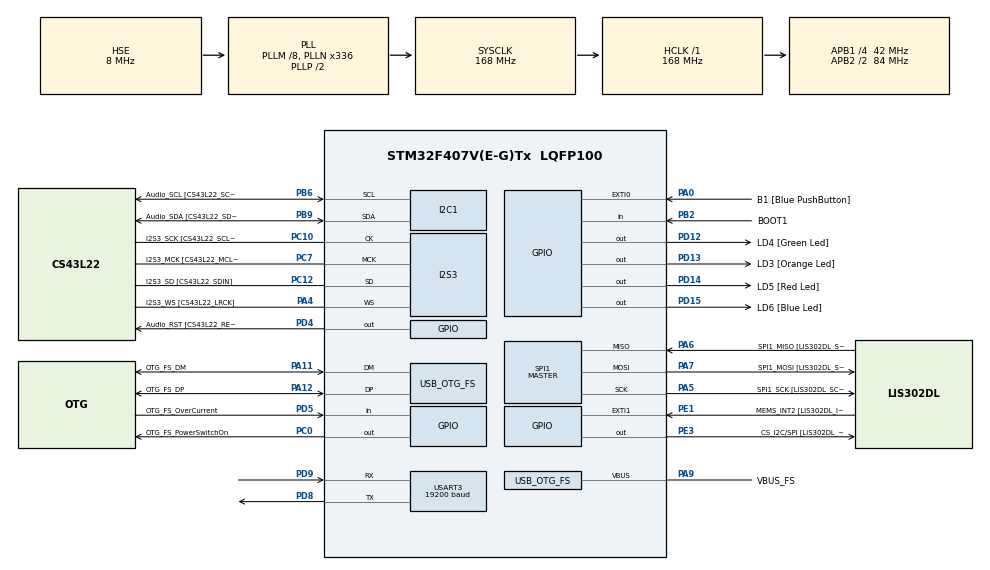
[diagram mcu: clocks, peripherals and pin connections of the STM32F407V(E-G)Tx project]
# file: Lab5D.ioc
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I2S3.AudioFreq-Half_Duplex_Master=I2S_AUDIOFREQ_96K
I2S3.ErrorAudioFreq=-2.34 %
I2S3.ErrorAudioFreq-Half_Duplex_Master=0.8 %
I2S3.FullDuplexMode=I2S_FULLDUPLEXMODE_DISABLE
I2S3.Instance=SPI$Index
I2S3.RealAudioFreq=93.75 KHz
I2S3.RealAudioFreq-Half_Duplex_Master=96.774 KHz
I2S3.VirtualMode=I2S_MODE_MASTER
Mcu.Family=STM32F4
Mcu.Name=STM32F407V(E-G)Tx
Mcu.Package=LQFP100
NVIC.OTG_FS_IRQn=true\:0\:0\:false\:false\:true\:true\:true\:true
NVIC.PriorityGroup=NVIC_PRIORITYGROUP_0
PA0-WKUP.GPIO_Label=B1 [Blue PushButton]
PA0-WKUP.GPIO_ModeDefaultEXTI=GPIO_MODE_EVT_RISING
PA0-WKUP.GPIO_PuPd=GPIO_NOPULL
PA0-WKUP.Signal=GPXTI0
PA10.GPIO_Label=OTG_FS_ID
PA10.GPIO_Mode=GPIO_MODE_AF_PP
PA10.GPIO_PuPd=GPIO_NOPULL
PA10.GPIO_Speed=GPIO_SPEED_FREQ_LOW
PA10.Signal=USB_OTG_FS_ID
PA11.GPIO_Label=OTG_FS_DM
PA11.GPIO_Mode=GPIO_MODE_AF_PP
PA11.GPIO_PuPd=GPIO_NOPULL
PA11.GPIO_Speed=GPIO_SPEED_FREQ_LOW
PA11.Mode=Host_Only
PA11.Signal=USB_OTG_FS_DM
PA12.GPIO_Label=OTG_FS_DP
PA12.GPIO_Mode=GPIO_MODE_AF_PP
PA12.GPIO_PuPd=GPIO_NOPULL
PA12.GPIO_Speed=GPIO_SPEED_FREQ_LOW
PA12.Mode=Host_Only
PA12.Signal=USB_OTG_FS_DP
PA13.GPIO_Label=SWDIO
PA13.Mode=Serial_Wire
PA13.Signal=SYS_JTMS-SWDIO
PA14.GPIO_Label=SWCLK
PA14.Mode=Serial_Wire
PA14.Signal=SYS_JTCK-SWCLK
PA4.GPIO_Label=I2S3_WS [CS43L22_LRCK]
PA4.GPIO_Mode=GPIO_MODE_AF_PP
PA4.GPIO_PuPd=GPIO_NOPULL
PA4.GPIO_Speed=GPIO_SPEED_FREQ_LOW
PA4.Mode=Half_Duplex_Master
PA4.Signal=I2S3_WS
PA5.GPIO_Label=SPI1_SCK [LIS302DL_SCL/SPC]
PA5.GPIO_Mode=GPIO_MODE_AF_PP
PA5.GPIO_PuPd=GPIO_NOPULL
PA5.GPIO_Speed=GPIO_SPEED_FREQ_LOW
PA5.Mode=Full_Duplex_Master
PA5.Signal=SPI1_SCK
PA6.GPIO_Label=SPI1_MISO [LIS302DL_SDO]
PA6.GPIO_Mode=GPIO_MODE_AF_PP
PA6.GPIO_PuPd=GPIO_NOPULL
PA6.GPIO_Speed=GPIO_SPEED_FREQ_LOW
PA6.Mode=Full_Duplex_Master
PA6.Signal=SPI1_MISO
PA7.GPIO_Label=SPI1_MOSI [LIS302DL_SDA/SDI/SDO]
PA7.GPIO_Mode=GPIO_MODE_AF_PP
PA7.GPIO_PuPd=GPIO_NOPULL
PA7.GPIO_Speed=GPIO_SPEED_FREQ_LOW
PA7.Mode=Full_Duplex_Master
PA7.Signal=SPI1_MOSI
PA9.GPIO_Label=VBUS_FS
PA9.GPIO_Mode=GPIO_MODE_INPUT
PA9.GPIO_PuPd=GPIO_NOPULL
PA9.Mode=Activate_VBUS
PA9.Signal=USB_OTG_FS_VBUS
PB10.GPIO_Label=CLK_IN [MP45DT02_CLK]
PB10.GPIO_Mode=GPIO_MODE_AF_PP
PB10.GPIO_PuPd=GPIO_NOPULL
PB10.GPIO_Speed=GPIO_SPEED_FREQ_LOW
PB10.Signal=I2S2_CK
PB2.GPIO_Label=BOOT1
PB2.GPIO_Mode=GPIO_MODE_INPUT
PB2.GPIO_PuPd=GPIO_NOPULL
PB2.Signal=GPIO_Input
PB3.GPIO_Label=SWO
PB3.Signal=SYS_JTDO-SWO
PB6.GPIO_Label=Audio_SCL [CS43L22_SCL]
PB6.GPIO_Mode=GPIO_MODE_AF_OD
PB6.GPIO_Pu=GPIO_PULLUP
PB6.GPIO_PuPd=GPIO_NOPULL
PB6.GPIO_Speed=GPIO_SPEED_FREQ_LOW
PB6.Mode=I2C
PB6.Signal=I2C1_SCL
PB9.GPIO_Label=Audio_SDA [CS43L22_SDA]
PB9.GPIO_Mode=GPIO_MODE_AF_OD
PB9.GPIO_Pu=GPIO_PULLUP
PB9.GPIO_PuPd=GPIO_NOPULL
PB9.GPIO_Speed=GPIO_SPEED_FREQ_LOW
PB9.Mode=I2C
PB9.Signal=I2C1_SDA
PC0.GPIO_Label=OTG_FS_PowerSwitchOn
PC0.GPIO_PuPd=GPIO_NOPULL
PC0.GPIO_Speed=GPIO_SPEED_FREQ_LOW
PC0.PinState=GPIO_PIN_SET
PC0.Signal=GPIO_Output
PC10.GPIO_Label=I2S3_SCK [CS43L22_SCLK]
PC10.GPIO_Mode=GPIO_MODE_AF_PP
PC10.GPIO_PuPd=GPIO_NOPULL
PC10.GPIO_Speed=GPIO_SPEED_FREQ_LOW
PC10.Mode=Half_Duplex_Master
PC10.Signal=I2S3_CK
PC12.GPIO_Label=I2S3_SD [CS43L22_SDIN]
PC12.GPIO_Mode=GPIO_MODE_AF_PP
PC12.GPIO_PuPd=GPIO_NOPULL
PC12.GPIO_Speed=GPIO_SPEED_FREQ_LOW
PC12.Mode=Half_Duplex_Master
PC12.Signal=I2S3_SD
PC14-OSC32_IN.GPIO_Label=PC14-OSC32_IN
PC14-OSC32_IN.Mode=LSE-External-Oscillator
PC14-OSC32_IN.Signal=RCC_OSC32_IN
PC15-OSC32_OUT.GPIO_Label=PC15-OSC32_OUT
PC15-OSC32_OUT.Mode=LSE-External-Oscillator
PC15-OSC32_OUT.Signal=RCC_OSC32_OUT
PC3.GPIO_Label=PDM_OUT [MP45DT02_DOUT]
PC3.GPIO_Mode=GPIO_MODE_AF_PP
PC3.GPIO_PuPd=GPIO_NOPULL
PC3.GPIO_Speed=GPIO_SPEED_FREQ_LOW
PC3.Signal=I2S2_SD
PC7.GPIO_Label=I2S3_MCK [CS43L22_MCLK]
PC7.GPIO_Mode=GPIO_MODE_AF_PP
PC7.GPIO_PuPd=GPIO_NOPULL
PC7.GPIO_Speed=GPIO_SPEED_FREQ_LOW
PC7.Mode=Master_Clock_Activated
PC7.Signal=I2S3_MCK
PD12.GPIO_Label=LD4 [Green Led]
PD12.GPIO_PuPd=GPIO_NOPULL
PD12.GPIO_Speed=GPIO_SPEED_FREQ_LOW
PD12.Signal=GPIO_Output
PD13.GPIO_Label=LD3 [Orange Led]
PD13.GPIO_PuPd=GPIO_NOPULL
PD13.GPIO_Speed=GPIO_SPEED_FREQ_LOW
PD13.Signal=GPIO_Output
PD14.GPIO_Label=LD5 [Red Led]
PD14.GPIO_PuPd=GPIO_NOPULL
PD14.GPIO_Speed=GPIO_SPEED_FREQ_LOW
PD14.Signal=GPIO_Output
PD15.GPIO_Label=LD6 [Blue Led]
PD15.GPIO_PuPd=GPIO_NOPULL
PD15.GPIO_Speed=GPIO_SPEED_FREQ_LOW
PD15.Signal=GPIO_Output
PD4.GPIO_Label=Audio_RST [CS43L22_RESET]
PD4.GPIO_PuPd=GPIO_NOPULL
PD4.GPIO_Speed=GPIO_SPEED_FREQ_LOW
PD4.Signal=GPIO_Output
PD5.GPIO_Label=OTG_FS_OverCurrent
PD5.GPIO_Mode=GPIO_MODE_INPUT
PD5.GPIO_PuPd=GPIO_NOPULL
PD5.Signal=GPIO_Input
PD8.Mode=Asynchronous
PD8.Signal=USART3_TX
PD9.Mode=Asynchronous
PD9.Signal=USART3_RX
PE1.GPIO_Label=MEMS_INT2 [LIS302DL_INT2]
PE1.GPIO_ModeDefaultEXTI=GPIO_MODE_EVT_RISING
PE1.GPIO_PuPd=GPIO_NOPULL
PE1.Signal=GPXTI1
PE3.GPIO_Label=CS_I2C/SPI [LIS302DL_CS_I2C/SPI]
PE3.GPIO_PuPd=GPIO_NOPULL
PE3.GPIO_Speed=GPIO_SPEED_FREQ_LOW
PE3.Signal=GPIO_Output
PH0-OSC_IN.GPIO_Label=PH0-OSC_IN
PH0-OSC_IN.Mode=HSE-External-Oscillator
PH0-OSC_IN.Signal=RCC_OSC_IN
PH1-OSC_OUT.GPIO_Label=PH1-OSC_OUT
PH1-OSC_OUT.Mode=HSE-External-Oscillator
PH1-OSC_OUT.Signal=RCC_OSC_OUT
ProjectManager.HeapSize=0x200
ProjectManager.StackSize=0x400
ProjectManager.TargetToolchain=STM32CubeIDE
RCC.48MHZClocksFreq_Value=48000000
RCC.AHBFreq_Value=168000000
RCC.APB1CLKDivider=RCC_HCLK_DIV4
RCC.APB1Freq_Value=42000000
RCC.APB1TimFreq_Value=84000000
RCC.APB2CLKDivider=RCC_HCLK_DIV2
RCC.APB2Freq_Value=84000000
RCC.APB2TimFreq_Value=168000000
RCC.CortexFreq_Value=168000000
RCC.HCLKFreq_Value=168000000
RCC.HSE_VALUE=8000000
RCC.HSI_VALUE=16000000
RCC.PLLM=8
RCC.PLLN=336
RCC.PLLQ=7
RCC.SYSCLKFreq_VALUE=168000000
RCC.SYSCLKSource=RCC_SYSCLKSOURCE_PLLCLK
RCC.VCOOutputFreq_Value=336000000
SPI1.BaudRatePrescaler-Full_Duplex_Master=SPI_BAUDRATEPRESCALER_2
SPI1.CalculateBaudRate-Full_Duplex_Master=42.0 MBits/s
SPI1.Direction=SPI_DIRECTION_2LINES
SPI1.Mode=SPI_MODE_MASTER
SPI1.Mode-Full_Duplex_Master=SPI_MODE_MASTER
SPI1.VirtualType=VM_MASTER
USART3.BaudRate=19200
USART3.VirtualMode=VM_ASYNC
USB_HOST.BSP.number=1
USB_HOST.USBH_HandleTypeDef-CDC_FS=hUsbHostFS
USB_HOST.VirtualModeFS=Cdc
USB_HOST0.BSP.STBoard=false
USB_HOST0.BSP.api=Unknown
USB_HOST0.BSP.instance=PC0
USB_HOST0.BSP.ip=GPIO
USB_HOST0.BSP.mode=Output
USB_HOST0.BSP.name=Drive_VBUS_FS
USB_HOST0.BSP.solution=PC0
USB_OTG_FS.VirtualMode=Host_Only
USB_OTG_FS.phy_itface=HCD_PHY_EMBEDDED
VP_USB_HOST_VS_USB_HOST_CDC_FS.Mode=CDC_FS
board=STM32F407G-DISC1

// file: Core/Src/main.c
/* USER CODE BEGIN Header */
/**
  ******************************************************************************
  * @file           : main.c
  * @brief          : Main program body
  ******************************************************************************
  * @attention
  *
  * Copyright (c) 2026 STMicroelectronics.
  * All rights reserved.
  *
  * This software is licensed under terms that can be found in the LICENSE file
  * in the root directory of this software component.
  * If no LICENSE file comes with this software, it is provided AS-IS.
  *
  ******************************************************************************
  */
/* USER CODE END Header */
#include "main.h"
#include "usb_host.h"

/* USER CODE BEGIN Includes */
#include <string.h>
/* USER CODE END Includes */

I2C_HandleTypeDef hi2c1;

I2S_HandleTypeDef hi2s3;

SPI_HandleTypeDef hspi1;

UART_HandleTypeDef huart3;

void SystemClock_Config(void);
static void MX_GPIO_Init(void);
static void MX_I2C1_Init(void);
static void MX_I2S3_Init(void);
static void MX_SPI1_Init(void);
static void MX_USART3_UART_Init(void);
void MX_USB_HOST_Process(void);

/* USER CODE BEGIN 0 */
static void UART_SendString(const char *str)
{
  HAL_UART_Transmit(&huart3, (uint8_t *)str, (uint16_t)strlen(str), 100);
}
/* USER CODE END 0 */

int main(void)
{

  /* MCU Configuration--------------------------------------------------------*/

  /* Reset of all peripherals, Initializes the Flash interface and the Systick. */
  HAL_Init();

  /* Configure the system clock */
  SystemClock_Config();

  /* Initialize all configured peripherals */
  MX_GPIO_Init();
  MX_I2C1_Init();
  MX_I2S3_Init();
  MX_SPI1_Init();
  MX_USB_HOST_Init();
  MX_USART3_UART_Init();
  /* USER CODE BEGIN 2 */
    UART_SendString("\r\n=== STM32 LED Control Ready ===\r\n");
    UART_SendString("1: Green | 2: Orange | 3: Red | 4: Blue | 5: All ON | 6: All OFF\r\n");
    /* USER CODE END 2 */

    /* Infinite loop */
    /* USER CODE BEGIN WHILE */
    while (1)
    {
      uint8_t rxByte = 0;

      if (HAL_UART_Receive(&huart3, &rxByte, 1, 10) == HAL_OK)
      {
        switch (rxByte)
        {
          case '1':
            HAL_GPIO_TogglePin(GPIOD, GPIO_PIN_12);
            UART_SendString(HAL_GPIO_ReadPin(GPIOD, GPIO_PIN_12) ? "[1] Green: ON\r\n" : "[1] Green: OFF\r\n");
            break;

          case '2':
            HAL_GPIO_TogglePin(GPIOD, GPIO_PIN_13);
            UART_SendString(HAL_GPIO_ReadPin(GPIOD, GPIO_PIN_13) ? "[2] Orange: ON\r\n" : "[2] Orange: OFF\r\n");
            break;

          case '3':
            HAL_GPIO_TogglePin(GPIOD, GPIO_PIN_14);
            UART_SendString(HAL_GPIO_ReadPin(GPIOD, GPIO_PIN_14) ? "[3] Red: ON\r\n" : "[3] Red: OFF\r\n");
            break;

          case '4':
            HAL_GPIO_TogglePin(GPIOD, GPIO_PIN_15);
            UART_SendString(HAL_GPIO_ReadPin(GPIOD, GPIO_PIN_15) ? "[4] Blue: ON\r\n" : "[4] Blue: OFF\r\n");
            break;

          case '5':
            HAL_GPIO_WritePin(GPIOD, GPIO_PIN_12 | GPIO_PIN_13 | GPIO_PIN_14 | GPIO_PIN_15, GPIO_PIN_SET);
            UART_SendString("[5] ALL LEDs: ON\r\n");
            break;

          case '6':
            HAL_GPIO_WritePin(GPIOD, GPIO_PIN_12 | GPIO_PIN_13 | GPIO_PIN_14 | GPIO_PIN_15, GPIO_PIN_RESET);
            UART_SendString("[6] ALL LEDs: OFF\r\n");
            break;

          default:
            UART_SendString("Unexpected command\r\n");
            break;
        }
      }
      /* USER CODE END WHILE */
    MX_USB_HOST_Process();

  }
}

void SystemClock_Config(void)
{
  RCC_OscInitTypeDef RCC_OscInitStruct = {0};
  RCC_ClkInitTypeDef RCC_ClkInitStruct = {0};

  /** Configure the main internal regulator output voltage
  */
  __HAL_RCC_PWR_CLK_ENABLE();
  __HAL_PWR_VOLTAGESCALING_CONFIG(PWR_REGULATOR_VOLTAGE_SCALE1);

  /** Initializes the RCC Oscillators according to the specified parameters
  * in the RCC_OscInitTypeDef structure.
  */
  RCC_OscInitStruct.OscillatorType = RCC_OSCILLATORTYPE_HSE;
  RCC_OscInitStruct.HSEState = RCC_HSE_ON;
  RCC_OscInitStruct.PLL.PLLState = RCC_PLL_ON;
  RCC_OscInitStruct.PLL.PLLSource = RCC_PLLSOURCE_HSE;
  RCC_OscInitStruct.PLL.PLLM = 8;
  RCC_OscInitStruct.PLL.PLLN = 336;
  RCC_OscInitStruct.PLL.PLLP = RCC_PLLP_DIV2;
  RCC_OscInitStruct.PLL.PLLQ = 7;
  if (HAL_RCC_OscConfig(&RCC_OscInitStruct) != HAL_OK)
  {
    Error_Handler();
  }

  /** Initializes the CPU, AHB and APB buses clocks
  */
  RCC_ClkInitStruct.ClockType = RCC_CLOCKTYPE_HCLK|RCC_CLOCKTYPE_SYSCLK
                              |RCC_CLOCKTYPE_PCLK1|RCC_CLOCKTYPE_PCLK2;
  RCC_ClkInitStruct.SYSCLKSource = RCC_SYSCLKSOURCE_PLLCLK;
  RCC_ClkInitStruct.AHBCLKDivider = RCC_SYSCLK_DIV1;
  RCC_ClkInitStruct.APB1CLKDivider = RCC_HCLK_DIV4;
  RCC_ClkInitStruct.APB2CLKDivider = RCC_HCLK_DIV2;

  if (HAL_RCC_ClockConfig(&RCC_ClkInitStruct, FLASH_LATENCY_5) != HAL_OK)
  {
    Error_Handler();
  }
}

static void MX_I2C1_Init(void)
{

  hi2c1.Instance = I2C1;
  hi2c1.Init.ClockSpeed = 100000;
  hi2c1.Init.DutyCycle = I2C_DUTYCYCLE_2;
  hi2c1.Init.OwnAddress1 = 0;
  hi2c1.Init.AddressingMode = I2C_ADDRESSINGMODE_7BIT;
  hi2c1.Init.DualAddressMode = I2C_DUALADDRESS_DISABLE;
  hi2c1.Init.OwnAddress2 = 0;
  hi2c1.Init.GeneralCallMode = I2C_GENERALCALL_DISABLE;
  hi2c1.Init.NoStretchMode = I2C_NOSTRETCH_DISABLE;
  if (HAL_I2C_Init(&hi2c1) != HAL_OK)
  {
    Error_Handler();
  }

}

static void MX_I2S3_Init(void)
{

  hi2s3.Instance = SPI3;
  hi2s3.Init.Mode = I2S_MODE_MASTER_TX;
  hi2s3.Init.Standard = I2S_STANDARD_PHILIPS;
  hi2s3.Init.DataFormat = I2S_DATAFORMAT_16B;
  hi2s3.Init.MCLKOutput = I2S_MCLKOUTPUT_ENABLE;
  hi2s3.Init.AudioFreq = I2S_AUDIOFREQ_96K;
  hi2s3.Init.CPOL = I2S_CPOL_LOW;
  hi2s3.Init.ClockSource = I2S_CLOCK_PLL;
  hi2s3.Init.FullDuplexMode = I2S_FULLDUPLEXMODE_DISABLE;
  if (HAL_I2S_Init(&hi2s3) != HAL_OK)
  {
    Error_Handler();
  }

}

static void MX_SPI1_Init(void)
{

  /* SPI1 parameter configuration*/
  hspi1.Instance = SPI1;
  hspi1.Init.Mode = SPI_MODE_MASTER;
  hspi1.Init.Direction = SPI_DIRECTION_2LINES;
  hspi1.Init.DataSize = SPI_DATASIZE_8BIT;
  hspi1.Init.CLKPolarity = SPI_POLARITY_LOW;
  hspi1.Init.CLKPhase = SPI_PHASE_1EDGE;
  hspi1.Init.NSS = SPI_NSS_SOFT;
  hspi1.Init.BaudRatePrescaler = SPI_BAUDRATEPRESCALER_2;
  hspi1.Init.FirstBit = SPI_FIRSTBIT_MSB;
  hspi1.Init.TIMode = SPI_TIMODE_DISABLE;
  hspi1.Init.CRCCalculation = SPI_CRCCALCULATION_DISABLE;
  hspi1.Init.CRCPolynomial = 10;
  if (HAL_SPI_Init(&hspi1) != HAL_OK)
  {
    Error_Handler();
  }

}

static void MX_USART3_UART_Init(void)
{

  huart3.Instance = USART3;
  huart3.Init.BaudRate = 19200;
  huart3.Init.WordLength = UART_WORDLENGTH_8B;
  huart3.Init.StopBits = UART_STOPBITS_1;
  huart3.Init.Parity = UART_PARITY_NONE;
  huart3.Init.Mode = UART_MODE_TX_RX;
  huart3.Init.HwFlowCtl = UART_HWCONTROL_NONE;
  huart3.Init.OverSampling = UART_OVERSAMPLING_16;
  if (HAL_UART_Init(&huart3) != HAL_OK)
  {
    Error_Handler();
  }

}

static void MX_GPIO_Init(void)
{
  GPIO_InitTypeDef GPIO_InitStruct = {0};

  /* GPIO Ports Clock Enable */
  __HAL_RCC_GPIOE_CLK_ENABLE();
  __HAL_RCC_GPIOC_CLK_ENABLE();
  __HAL_RCC_GPIOH_CLK_ENABLE();
  __HAL_RCC_GPIOA_CLK_ENABLE();
  __HAL_RCC_GPIOB_CLK_ENABLE();
  __HAL_RCC_GPIOD_CLK_ENABLE();

  /*Configure GPIO pin Output Level */
  HAL_GPIO_WritePin(CS_I2C_SPI_GPIO_Port, CS_I2C_SPI_Pin, GPIO_PIN_RESET);

  /*Configure GPIO pin Output Level */
  HAL_GPIO_WritePin(OTG_FS_PowerSwitchOn_GPIO_Port, OTG_FS_PowerSwitchOn_Pin, GPIO_PIN_SET);

  /*Configure GPIO pin Output Level */
  HAL_GPIO_WritePin(GPIOD, LD4_Pin|LD3_Pin|LD5_Pin|LD6_Pin
                          |Audio_RST_Pin, GPIO_PIN_RESET);

  /*Configure GPIO pin : CS_I2C_SPI_Pin */
  GPIO_InitStruct.Pin = CS_I2C_SPI_Pin;
  GPIO_InitStruct.Mode = GPIO_MODE_OUTPUT_PP;
  GPIO_InitStruct.Pull = GPIO_NOPULL;
  GPIO_InitStruct.Speed = GPIO_SPEED_FREQ_LOW;
  HAL_GPIO_Init(CS_I2C_SPI_GPIO_Port, &GPIO_InitStruct);

  /*Configure GPIO pin : OTG_FS_PowerSwitchOn_Pin */
  GPIO_InitStruct.Pin = OTG_FS_PowerSwitchOn_Pin;
  GPIO_InitStruct.Mode = GPIO_MODE_OUTPUT_PP;
  GPIO_InitStruct.Pull = GPIO_NOPULL;
  GPIO_InitStruct.Speed = GPIO_SPEED_FREQ_LOW;
  HAL_GPIO_Init(OTG_FS_PowerSwitchOn_GPIO_Port, &GPIO_InitStruct);

  /*Configure GPIO pin : PDM_OUT_Pin */
  GPIO_InitStruct.Pin = PDM_OUT_Pin;
  GPIO_InitStruct.Mode = GPIO_MODE_AF_PP;
  GPIO_InitStruct.Pull = GPIO_NOPULL;
  GPIO_InitStruct.Speed = GPIO_SPEED_FREQ_LOW;
  GPIO_InitStruct.Alternate = GPIO_AF5_SPI2;
  HAL_GPIO_Init(PDM_OUT_GPIO_Port, &GPIO_InitStruct);

  /*Configure GPIO pin : B1_Pin */
  GPIO_InitStruct.Pin = B1_Pin;
  GPIO_InitStruct.Mode = GPIO_MODE_EVT_RISING;
  GPIO_InitStruct.Pull = GPIO_NOPULL;
  HAL_GPIO_Init(B1_GPIO_Port, &GPIO_InitStruct);

  /*Configure GPIO pin : BOOT1_Pin */
  GPIO_InitStruct.Pin = BOOT1_Pin;
  GPIO_InitStruct.Mode = GPIO_MODE_INPUT;
  GPIO_InitStruct.Pull = GPIO_NOPULL;
  HAL_GPIO_Init(BOOT1_GPIO_Port, &GPIO_InitStruct);

  /*Configure GPIO pin : CLK_IN_Pin */
  GPIO_InitStruct.Pin = CLK_IN_Pin;
  GPIO_InitStruct.Mode = GPIO_MODE_AF_PP;
  GPIO_InitStruct.Pull = GPIO_NOPULL;
  GPIO_InitStruct.Speed = GPIO_SPEED_FREQ_LOW;
  GPIO_InitStruct.Alternate = GPIO_AF5_SPI2;
  HAL_GPIO_Init(CLK_IN_GPIO_Port, &GPIO_InitStruct);

  /*Configure GPIO pins : LD4_Pin LD3_Pin LD5_Pin LD6_Pin
                           Audio_RST_Pin */
  GPIO_InitStruct.Pin = LD4_Pin|LD3_Pin|LD5_Pin|LD6_Pin
                          |Audio_RST_Pin;
  GPIO_InitStruct.Mode = GPIO_MODE_OUTPUT_PP;
  GPIO_InitStruct.Pull = GPIO_NOPULL;
  GPIO_InitStruct.Speed = GPIO_SPEED_FREQ_LOW;
  HAL_GPIO_Init(GPIOD, &GPIO_InitStruct);

  /*Configure GPIO pin : OTG_FS_OverCurrent_Pin */
  GPIO_InitStruct.Pin = OTG_FS_OverCurrent_Pin;
  GPIO_InitStruct.Mode = GPIO_MODE_INPUT;
  GPIO_InitStruct.Pull = GPIO_NOPULL;
  HAL_GPIO_Init(OTG_FS_OverCurrent_GPIO_Port, &GPIO_InitStruct);

  /*Configure GPIO pin : MEMS_INT2_Pin */
  GPIO_InitStruct.Pin = MEMS_INT2_Pin;
  GPIO_InitStruct.Mode = GPIO_MODE_EVT_RISING;
  GPIO_InitStruct.Pull = GPIO_NOPULL;
  HAL_GPIO_Init(MEMS_INT2_GPIO_Port, &GPIO_InitStruct);

}

void Error_Handler(void)
{
  __disable_irq();
  while (1)
  {
  }
}
